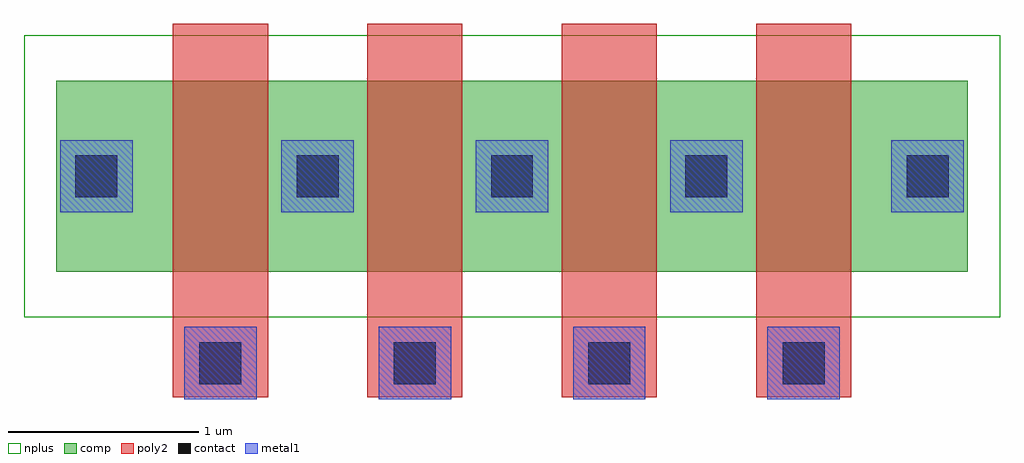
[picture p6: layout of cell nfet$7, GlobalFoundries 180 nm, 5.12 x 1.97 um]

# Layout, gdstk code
import gdstk
lib = gdstk.Library(unit=1e-6, precision=5e-09)
def R(c, l, rs):  # rectangles x0, y0, x1, y1
    for r in rs: c.add(gdstk.rectangle(r[:2], r[2:], *l))
def A(c, l, x, y, w, h, nx, ny, dx, dy):  # array of equal rectangles
    R(c, l, [(x+i*dx, y+j*dy, x+i*dx+w, y+j*dy+h) for i in range(nx) for j in range(ny)])
comp = (22, 0)
poly2 = (30, 0)
nplus = (32, 0)
contact = (33, 0)
metal1 = (34, 0)

nfet_7 = lib.new_cell('nfet$7')
R(nfet_7, comp, [(-0.42,0,0,1), (0,0,3.94,1), (3.94,0,4.36,1)])
A(nfet_7, poly2, 0.19, -0.66, 0.5, 0.36, 4, 1, 1.02, 0)
A(nfet_7, poly2, 0.19, -0.3, 0.5, 1.6, 4, 1, 1.02, 0)
R(nfet_7, nplus, [(-0.59,-0.24,4.53,1.24)])
A(nfet_7, contact, 0.33, -0.59, 0.22, 0.22, 4, 1, 1.02, 0)
A(nfet_7, contact, 0.84, 0.39, 0.22, 0.22, 3, 1, 1.02, 0)
R(nfet_7, contact, [(-0.32,0.39,-0.1,0.61), (4.04,0.39,4.26,0.61)])
A(nfet_7, metal1, 0.25, -0.67, 0.38, 0.38, 4, 1, 1.02, 0)
A(nfet_7, metal1, 0.76, 0.31, 0.38, 0.38, 3, 1, 1.02, 0)
R(nfet_7, metal1, [(-0.4,0.31,-0.02,0.69), (3.96,0.31,4.34,0.69)])

lib.write_gds('nfet_7.gds')
